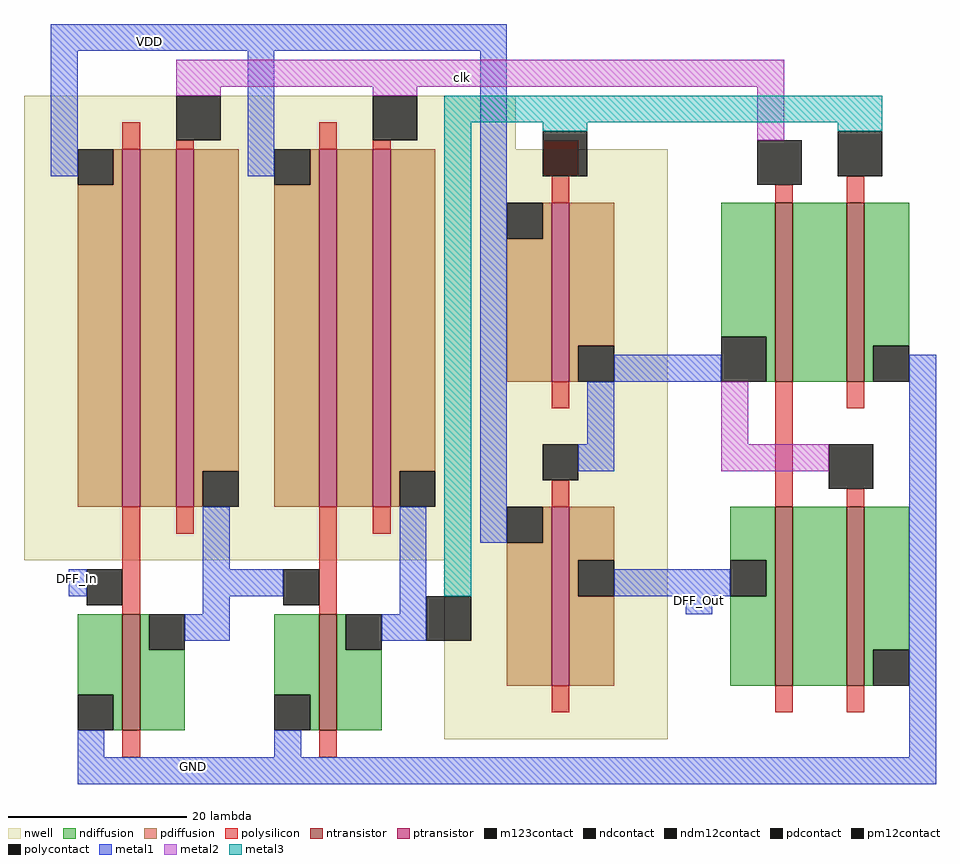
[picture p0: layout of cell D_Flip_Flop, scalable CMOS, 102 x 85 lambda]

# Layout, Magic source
magic
tech scmos
<< nwell >>
rect -103 73 -48 79
rect -103 27 -31 73
rect -56 7 -31 27
<< ntransistor >>
rect -19 47 -17 67
rect -11 47 -9 67
rect -92 8 -90 21
rect -70 8 -68 21
rect -19 13 -17 33
rect -11 13 -9 33
<< ptransistor >>
rect -92 33 -90 73
rect -86 33 -84 73
rect -70 33 -68 73
rect -64 33 -62 73
rect -44 47 -42 67
rect -44 13 -42 33
<< ndiffusion >>
rect -25 52 -19 67
rect -20 47 -19 52
rect -17 47 -11 67
rect -9 51 -4 67
rect -9 47 -8 51
rect -97 12 -92 21
rect -93 8 -92 12
rect -90 17 -89 21
rect -90 8 -85 17
rect -75 12 -70 21
rect -71 8 -70 12
rect -68 17 -67 21
rect -68 8 -63 17
rect -24 27 -19 33
rect -20 23 -19 27
rect -24 13 -19 23
rect -17 13 -11 33
rect -9 17 -4 33
rect -9 13 -8 17
<< pdiffusion >>
rect -93 69 -92 73
rect -97 33 -92 69
rect -90 33 -86 73
rect -84 37 -79 73
rect -84 33 -83 37
rect -71 69 -70 73
rect -75 33 -70 69
rect -68 33 -64 73
rect -62 37 -57 73
rect -45 63 -44 67
rect -49 47 -44 63
rect -42 51 -37 67
rect -42 47 -41 51
rect -62 33 -61 37
rect -45 29 -44 33
rect -49 13 -44 29
rect -42 27 -37 33
rect -42 23 -41 27
rect -42 13 -37 23
<< ndcontact >>
rect -8 47 -4 51
rect -97 8 -93 12
rect -89 17 -85 21
rect -75 8 -71 12
rect -67 17 -63 21
rect -24 23 -20 27
rect -8 13 -4 17
<< pdcontact >>
rect -97 69 -93 73
rect -83 33 -79 37
rect -75 69 -71 73
rect -49 63 -45 67
rect -41 47 -37 51
rect -61 33 -57 37
rect -49 29 -45 33
rect -41 23 -37 27
<< polysilicon >>
rect -92 73 -90 76
rect -86 73 -84 74
rect -70 73 -68 76
rect -64 73 -62 74
rect -45 70 -41 74
rect -44 67 -42 70
rect -19 67 -17 69
rect -11 67 -9 70
rect -44 44 -42 47
rect -44 33 -42 36
rect -19 33 -17 47
rect -11 44 -9 47
rect -11 33 -9 35
rect -92 21 -90 33
rect -86 30 -84 33
rect -70 21 -68 33
rect -64 30 -62 33
rect -44 10 -42 13
rect -19 10 -17 13
rect -11 10 -9 13
rect -92 5 -90 8
rect -70 5 -68 8
<< polycontact >>
rect -45 36 -41 40
rect -96 22 -92 26
rect -74 22 -70 26
<< metal1 >>
rect -100 84 -49 87
rect -100 70 -97 84
rect -78 70 -75 84
rect -83 26 -80 33
rect -98 23 -96 26
rect -83 23 -74 26
rect -83 21 -80 23
rect -61 21 -58 33
rect -52 29 -49 84
rect -37 47 -25 50
rect -40 40 -37 47
rect -41 37 -37 40
rect -37 23 -24 26
rect -85 18 -80 21
rect -63 18 -58 21
rect -29 21 -26 23
rect -97 5 -94 8
rect -75 5 -72 8
rect -4 5 -1 50
rect -97 2 -1 5
<< pm12contact >>
rect -86 74 -81 79
rect -64 74 -59 79
rect -21 69 -16 74
rect -13 35 -8 40
<< ndm12contact >>
rect -25 47 -20 52
<< metal2 >>
rect -86 80 -18 83
rect -86 79 -81 80
rect -64 79 -59 80
rect -21 74 -18 80
rect -25 40 -22 47
rect -25 37 -13 40
<< m123contact >>
rect -45 70 -40 75
rect -12 70 -7 75
rect -58 18 -53 23
<< metal3 >>
rect -56 76 -7 79
rect -56 23 -53 76
rect -45 75 -40 76
rect -12 75 -7 76
<< labels >>
rlabel metal1 -89 85 -89 85 5 VDD
rlabel metal1 -84 4 -84 4 1 GND
rlabel metal2 -54 81 -54 81 1 clk
rlabel metal1 -29 21 -26 24 1 DFF_Out
rlabel metal1 -98 24 -96 26 1 DFF_In
<< end >>
